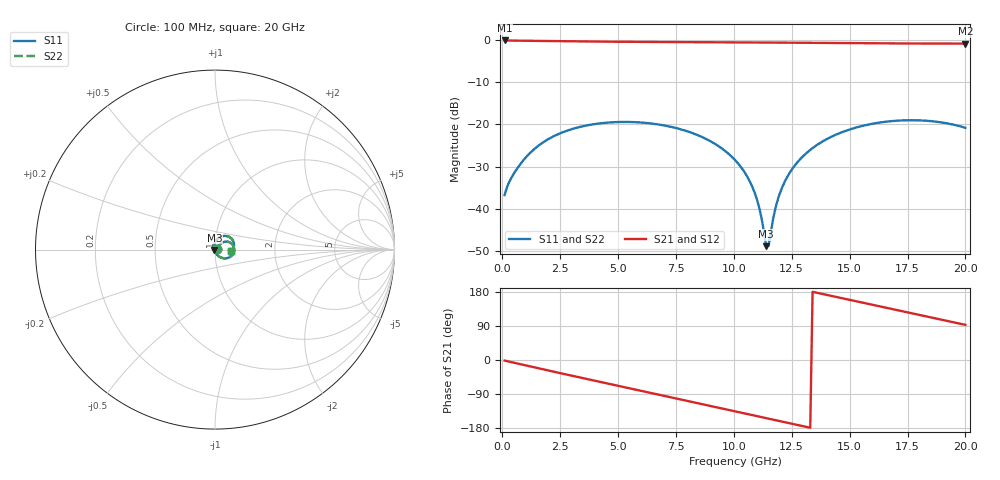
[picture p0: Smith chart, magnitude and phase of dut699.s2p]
! Touchstone file exported from HFSS 2026.1.0
!  File:  C:/ffzhzh/LocalFiles/Ansys_Project_Files/temp_train_TSV_RDL_699_1783136477_50312.aedt
!  Generated:  11:50:01 AM Jul  4, 2026
!  Design:  TSV_RDL
!  Project:  temp_train_TSV_RDL_699_1783136477_50312
! Variables:
!  h_bsmrdl = 5.68um
!  h_ox = 20um
!  h_rdl = 5um
!  h_sub = 63.73um
!  h_tmrdl = 5.77um
!  h_tsv = 63.73um
!  h_via = 3um
!  l_bsmrdl = 278.86um
!  l_sub = 4706.07um
!  l_tmrdl = 828.41um
!  m_sub = 200um
!  pitch = 32.52um
!  r_tsv = 6.68um
!  s_tmrdl = 10um
!  w_bsmrdl = 28.17um
!  w_sub = 500um
!  w_tmrdl = 23.78um
!  x_tsv_center1 = 840.3um
!  x_tsv_center2 = 1147.33um
!  x_tsv_center3 = 1999.52um
!  x_tsv_center4 = 2306.55um
!  x_tsv_center5 = 3158.74um
!  x_tsv_center6 = 3465.77um
# GHz S MA R 50.000000
! Terminal data exported
! Port[1] = TM_RDL1_1_T1
! Port[2] = TM_RDL5_1_T1
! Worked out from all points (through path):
!   200 points, 100 MHz to 20 GHz, reference 50 ohm
!   highest |S21| = -0.12 dB at 100 MHz (marker M1); lowest = -0.9 dB at 20 GHz (marker M2)
!   group delay of S21, straight-line fit = 37 ps
!   lowest |S11| = -48.8 dB at 11.4 GHz (marker M3), VSWR 1.01, Z = 49.7 - j0.212 ohm
!   |S11| at or under -10 dB: start of sweep to end of sweep
!   |S22| runs from -48.6 to -19.0 dB; largest |S21 - S12| = 2.5e-14
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0.1  0.01457 22.2  0.9866 -1.5  0.9866 -1.5  0.01457 22.2
! Gamma 0 0 0 0
! Port Impedance 50 0 50 0
0.6  0.02884 42.6  0.9816 -8.5  0.9816 -8.5  0.02884 42.6
1.4  0.05159 45.3  0.9766 -19.6  0.9766 -19.6  0.05159 45.3
2.3  0.07427 37.1  0.9698 -31.9  0.9698 -31.9  0.07427 37.1
3.5  0.09546 22.7  0.9608 -48.1  0.9608 -48.1  0.09547 22.7
5.2  0.107 1.3  0.9514 -70.8  0.9514 -70.8  0.107 1.3
6.8  0.09927 -19.1  0.9459 -92.0  0.9459 -92.0  0.09928 -19.1
8.7  0.06944 -44.1  0.9411 -117.3  0.9411 -117.3  0.06946 -44.2
10.1  0.03662 -64.5  0.9373 -136.0  0.9373 -136.0  0.03664 -64.7
10.6  0.02352 -73.9  0.9357 -142.7  0.9357 -142.7  0.02355 -74.1
10.9  0.01551 -82.0  0.9347 -146.7  0.9347 -146.7  0.01555 -82.4
11.2  0.007672 -99.3  0.9336 -150.8  0.9336 -150.8  0.00773 -99.9
11.4  0.003619 -143.8  0.9328 -153.4  0.9328 -153.4  0.003719 -144.2
11.5  0.003634 169.9  0.9324 -154.8  0.9324 -154.8  0.003723 170.8
11.8  0.01029 117.8  0.9312 -158.8  0.9312 -158.8  0.01031 118.4
12.2  0.02103 102.8  0.9296 -164.1  0.9296 -164.1  0.02103 103.2
12.7  0.03446 92.8  0.9274 -170.8  0.9274 -170.8  0.03445 93.0
13.4  0.05248 81.9  0.9242 179.9  0.9242 179.9  0.05246 82.0
14.9  0.08528 61.2  0.9173 160.0  0.9173 160.0  0.08525 61.3
16.7  0.1087 37.7  0.9105 136.3  0.9105 136.3  0.1086 37.8
18.4  0.1101 15.8  0.9068 113.9  0.9068 113.9  0.11 16.0
20  0.09124 -4.6  0.9052 92.7  0.9052 92.7  0.09117 -4.3
